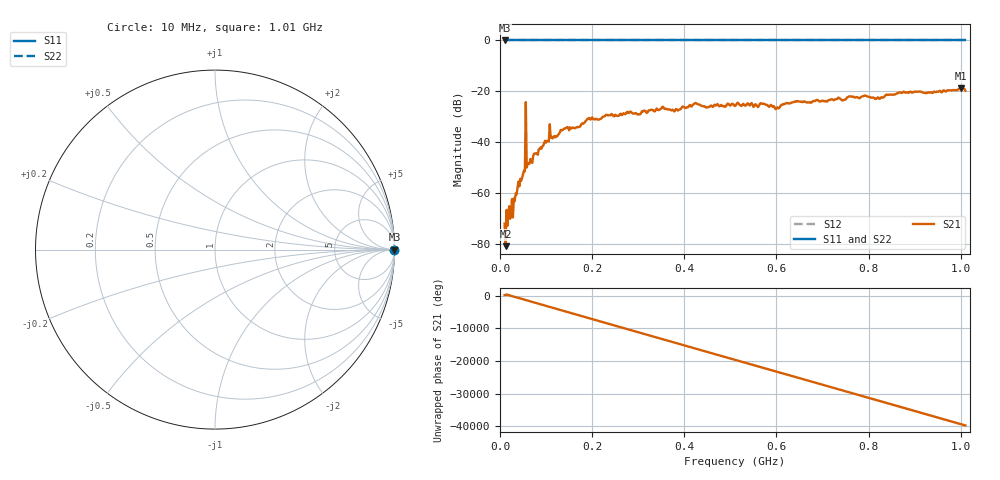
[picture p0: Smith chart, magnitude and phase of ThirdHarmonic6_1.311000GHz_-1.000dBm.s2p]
! 8/16/2025 2:30:24 PM
! C:\ANRITSUVNA\TEMP\TEMP.S2P
! CHANNEL.1
! TR.MEASUREMENT
! RAW.DATA
! RF.CORRECTION.OFF
! AVERAGING.OFF
! IF.BANDWIDTH: 5KHZ
! SWEEPTYPE:  FREQ.SWEEP(Linear)
! Reference Plane Port Info
! PORT:  PORT1  PORT2
! DISTANCE:  0  m  0  m
! TIME:  0  s  0  s
! PHASE.OFFSET:  0  deg.  0  deg.
! LOSS:  0  dB  0  dB
! REF.LOSS:  0  dB  0  dB
! REF.FREQ:  0  Hz  0  Hz
! Power Info
! POWER:  -20  dBm  -20  dBm
! EFF.POWER:  -20  dBm  -20  dBm
! SOURCE.ATTEN:  0  dB  0  dB
! TEST.ATTEN:  0  dB  0  dB
# GHZ S RI R 50.0
! FREQ.GHZ  S11RE  S11IM  S21RE  S21IM  S12RE  S12IM  S22RE  S22IM
!; PortSelection: Port_12
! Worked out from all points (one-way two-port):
!   501 points, 10 MHz to 1.01 GHz, reference 50 ohm
!   highest |S21| = -18.80 dB at 1 GHz (marker M1); lowest = -80.8 dB at 12 MHz (marker M2)
!   lowest |S11| = 0.0 dB at 10 MHz (marker M3)
!   |S11| at or under -10 dB: nowhere
!   |S22| runs from 0.0 to 0.0 dB; largest |S21 - S12| = 1.1
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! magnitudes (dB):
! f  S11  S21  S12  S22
! 10 MHz  0.0  -72.0  0.0  0.0
! 12 MHz  0.0  -80.8  0.0  0.0
! 50 MHz  0.0  -52.5  0.0  0.0
! 52 MHz  0.0  -51.2  0.0  0.0
! 60 MHz  0.0  -48.2  0.0  0.0
! 62 MHz  0.0  -48.6  0.0  0.0
! 108 MHz  0.0  -32.9  0.0  0.0
! 178 MHz  0.0  -32.6  0.0  0.0
! 190 MHz  0.0  -30.7  0.0  0.0
! 232 MHz  0.0  -29.2  0.0  0.0
! 344 MHz  0.0  -27.4  0.0  0.0
! 382 MHz  0.0  -26.9  0.0  0.0
! 424 MHz  0.0  -24.6  0.0  0.0
! 450 MHz  0.0  -26.2  0.0  0.0
! 510 MHz  0.0  -25.8  0.0  0.0
! 570 MHz  0.0  -24.9  0.0  0.0
! 602 MHz  0.0  -26.3  0.0  0.0
! 642 MHz  0.0  -23.9  0.0  0.0
! 678 MHz  0.0  -24.0  0.0  0.0
! 844 MHz  0.0  -21.3  0.0  0.0
! 1 GHz  0.0  -18.8  0.0  0.0
! 1.01 GHz  0.0  -19.8  0.0  0.0
